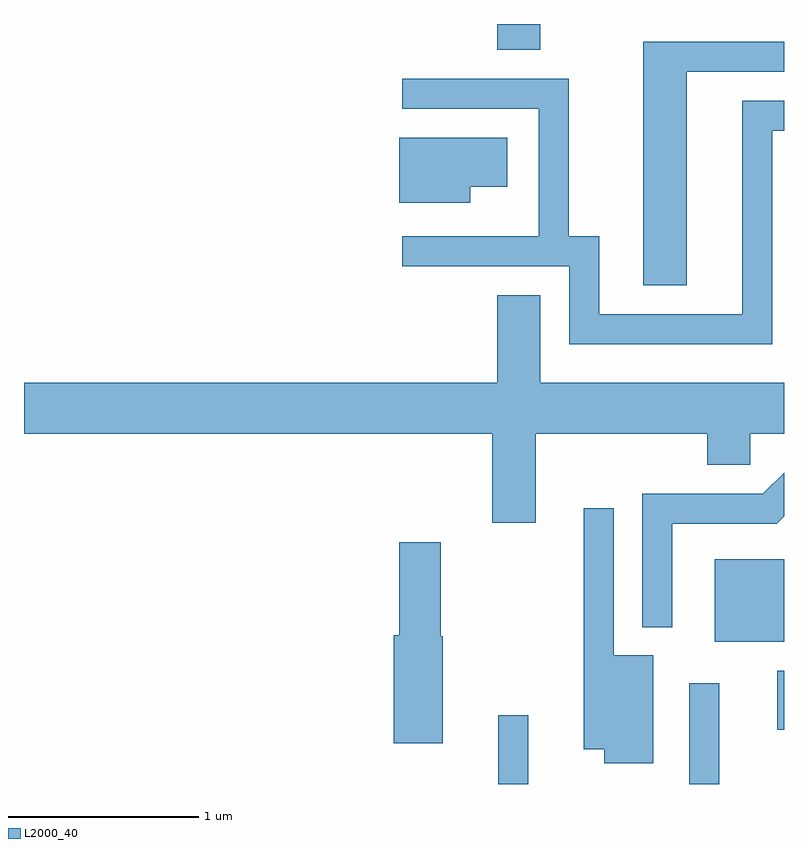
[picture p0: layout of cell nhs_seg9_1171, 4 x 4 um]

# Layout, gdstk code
import gdstk
lib = gdstk.Library(unit=1e-6, precision=1e-09)
def R(c, l, rs):  # rectangles x0, y0, x1, y1
    for r in rs: c.add(gdstk.rectangle(r[:2], r[2:], *l))
def P(c, l, *ps):  # polygons
    for p in ps: c.add(gdstk.Polygon(p, *l))
L2000_40 = (2000, 40)

nhs_seg9_1171 = lib.new_cell('nhs_seg9_1171')
R(nhs_seg9_1171, L2000_40, [(222.106,1974.432,222.264,1974.793), (223.111,1974.432,223.269,1974.963), (223.576,1974.718,223.611,1975.029), (223.246,1975.181,223.611,1975.614), (222.101,1978.296,222.329,1978.432)])
P(nhs_seg9_1171, L2000_40, [(223.099,1978.181),(223.611,1978.181),(223.611,1978.339),(222.871,1978.339),(222.871,1977.056),(223.099,1977.056)],
  [(223.549,1977.871),(223.611,1977.871),(223.611,1978.029),(223.391,1978.029),(223.391,1976.904),(222.639,1976.904),(222.639,1977.314),(222.479,1977.314),(222.479,1978.144),(221.603,1978.144),(221.603,1977.986),(222.321,1977.986),(222.321,1977.314),(221.603,1977.314),(221.603,1977.156),(222.481,1977.156),(222.481,1976.746),(223.549,1976.746)],
  [(221.959,1977.576),(222.154,1977.576),(222.154,1977.834),(221.586,1977.834),(221.586,1977.491),(221.959,1977.491)],
  [(222.304,1976.276),(223.206,1976.276),(223.206,1976.111),(223.434,1976.111),(223.434,1976.276),(223.611,1976.276),(223.611,1976.544),(222.329,1976.544),(222.329,1977.004),(222.101,1977.004),(222.101,1976.544),(219.611,1976.544),(219.611,1976.276),(222.076,1976.276),(222.076,1975.806),(222.304,1975.806)],
  [(223.024,1975.801),(223.572,1975.801),(223.611,1975.84),(223.611,1976.071),(223.499,1975.959),(222.866,1975.959),(222.866,1975.258),(223.024,1975.258)],
  [(222.924,1975.109),(222.714,1975.109),(222.714,1975.883),(222.556,1975.883),(222.556,1974.616),(222.666,1974.616),(222.666,1974.541),(222.924,1974.541)],
  [(221.814,1975.21),(221.804,1975.21),(221.804,1975.704),(221.586,1975.704),(221.586,1975.214),(221.556,1975.214),(221.556,1974.646),(221.814,1974.646)])

lib.write_gds('nhs_seg9_1171.gds')
